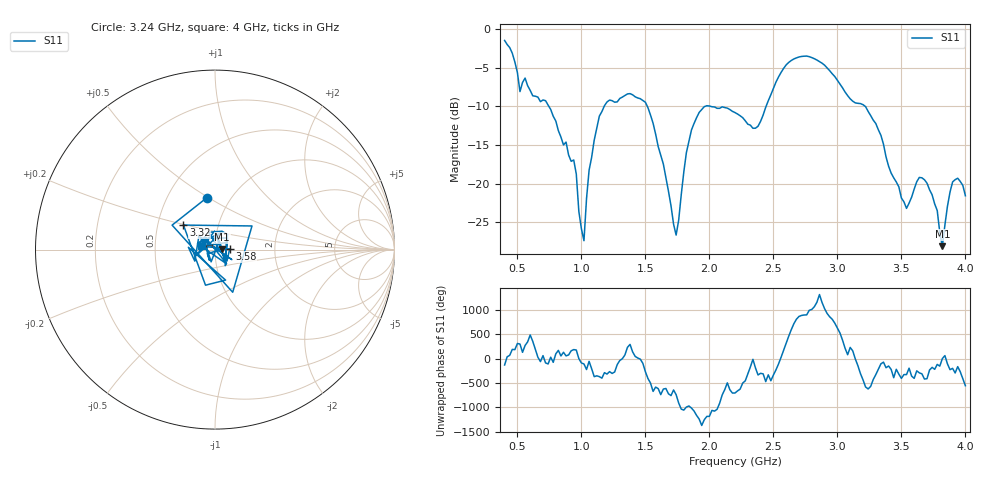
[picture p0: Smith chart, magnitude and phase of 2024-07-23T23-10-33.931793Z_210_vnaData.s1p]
!Created with skrf (http://scikit-rf.org).
# Hz S RI R 50.0
!freq ReS11 ImS11
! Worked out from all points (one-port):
!   181 points, 400 MHz to 4 GHz, reference 50 ohm
!   lowest |S11| = -28.1 dB at 3.82 GHz (marker M1), VSWR 1.08, Z = 54.1 + j0.211 ohm
!   |S11| at or under -10 dB: 1.515 GHz to 1.969 GHz (454.3 MHz wide, 26.1 % of centre); 2.007 GHz to 2.443 GHz (436.5 MHz wide, 19.6 % of centre); 3.217 GHz to end of sweep (the widest 3 of 4)
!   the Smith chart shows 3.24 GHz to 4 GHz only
!   S11 on the Smith chart (normalised r, x): 3.24 GHz: 0.78, +0.49; 3.32 GHz: 0.68, +0.20; 3.58 GHz: 1.18, +0.01; 4 GHz: 0.85, +0.04
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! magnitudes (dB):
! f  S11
! 400 MHz  -1.5
! 520 MHz  -8.1
! 720 MHz  -9.3
! 860 MHz  -15.0
! 940 MHz  -16.9
! 1.02 GHz  -27.4
! 1.06 GHz  -18.3
! 1.14 GHz  -11.3
! 1.3 GHz  -9.0
! 1.5 GHz  -9.5
! 1.64 GHz  -17.5
! 1.74 GHz  -26.6
! 1.76 GHz  -24.7
! 1.82 GHz  -16.0
! 1.92 GHz  -10.8
! 2.2 GHz  -10.8
! 2.38 GHz  -12.6
! 2.66 GHz  -3.9
! 2.88 GHz  -4.4
! 3.1 GHz  -9.0
! 3.24 GHz  -10.7
! 3.32 GHz  -13.0
! 3.56 GHz  -22.5
! 3.58 GHz  -21.7
! 3.7 GHz  -19.9
! 3.82 GHz  -28.1
! 3.9 GHz  -19.8
! 4 GHz  -21.6
